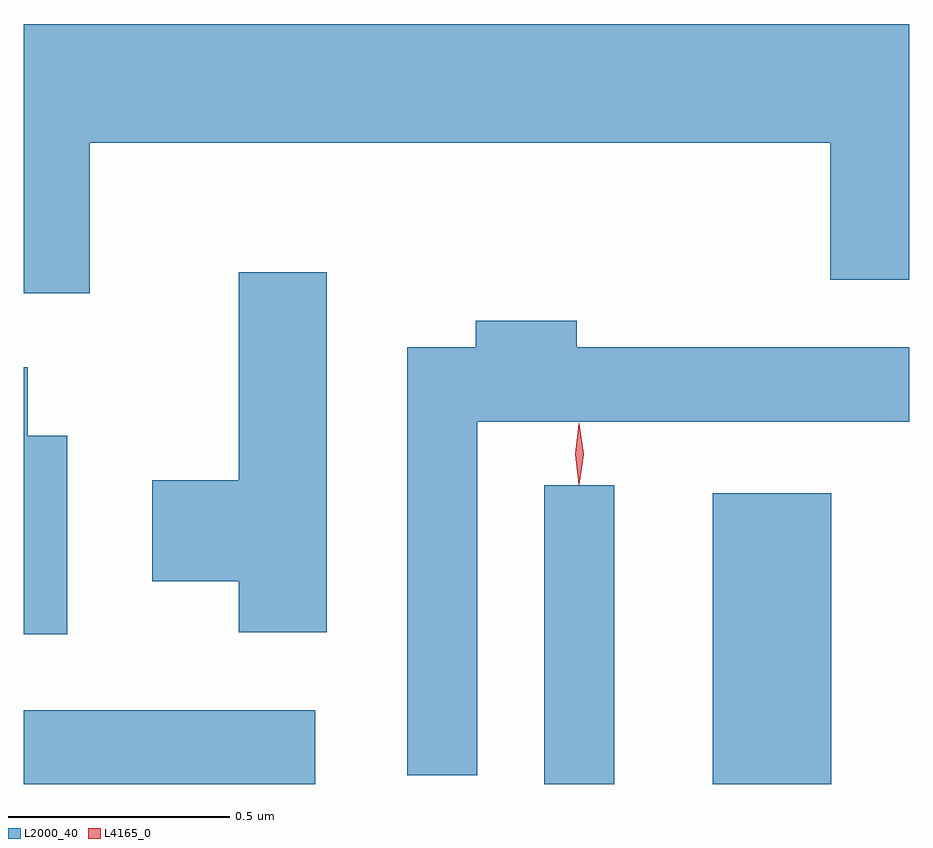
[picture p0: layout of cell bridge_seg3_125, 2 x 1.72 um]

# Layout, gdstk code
import gdstk
lib = gdstk.Library(unit=1e-6, precision=1e-09)
def R(c, l, rs):  # rectangles x0, y0, x1, y1
    for r in rs: c.add(gdstk.rectangle(r[:2], r[2:], *l))
def P(c, l, *ps):  # polygons
    for p in ps: c.add(gdstk.Polygon(p, *l))
L2000_40 = (2000, 40)
L4165_0 = (4165, 0)

bridge_seg3_125 = lib.new_cell('bridge_seg3_125')
R(bridge_seg3_125, L2000_40, [(922.25,1231.128,922.909,1231.294), (923.426,1231.128,923.584,1231.803), (923.806,1231.128,924.074,1231.784)])
P(bridge_seg3_125, L2000_40, [(922.399,1232.576),(924.071,1232.576),(924.071,1232.266),(924.25,1232.266),(924.25,1232.844),(922.25,1232.844),(922.25,1232.236),(922.399,1232.236)],
  [(922.934,1232.284),(922.736,1232.284),(922.736,1231.814),(922.541,1231.814),(922.541,1231.586),(922.736,1231.586),(922.736,1231.471),(922.934,1231.471)],
  [(923.274,1231.946),(924.25,1231.946),(924.25,1232.114),(923.499,1232.114),(923.499,1232.174),(923.271,1232.174),(923.271,1232.114),(923.116,1232.114),(923.116,1231.148),(923.274,1231.148)],
  [(922.349,1231.914),(922.259,1231.914),(922.259,1232.069),(922.25,1232.069),(922.25,1231.466),(922.349,1231.466)])
P(bridge_seg3_125, L4165_0, [(923.505,1231.807),(923.504,1231.808),(923.495,1231.874),(923.504,1231.94),(923.505,1231.941),(923.505,1231.94),(923.515,1231.874),(923.505,1231.808)],
  [(923.504,1231.804),(923.495,1231.873),(923.504,1231.943),(923.505,1231.943),(923.505,1231.943),(923.515,1231.873),(923.505,1231.804),(923.505,1231.804)])

lib.write_gds('bridge_seg3_125.gds')
